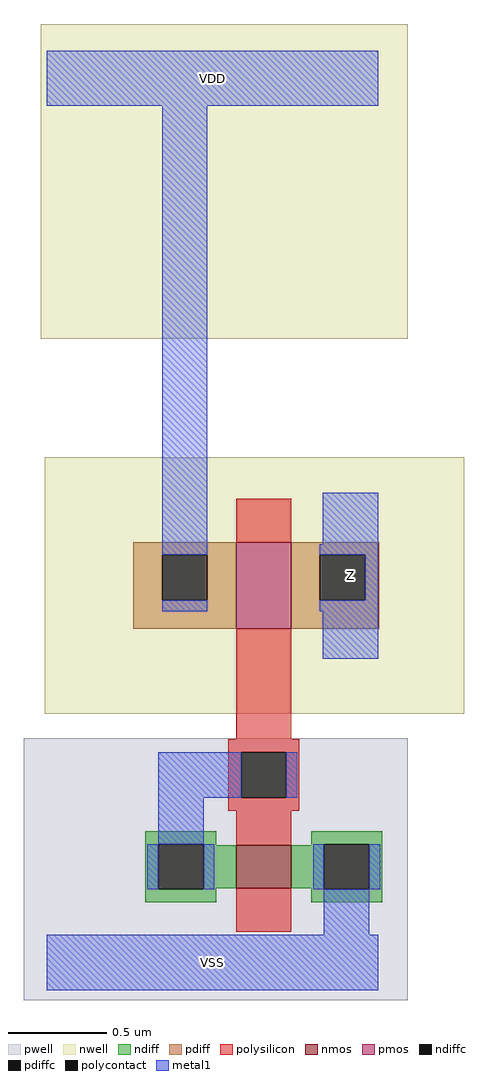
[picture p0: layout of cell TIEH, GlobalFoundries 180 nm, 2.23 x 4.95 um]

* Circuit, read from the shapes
.subckt TIEH VSS VDD Z
XM1 VSS n1 n1 VSUBS nfet_03v3 w=0.22u l=0.28u
XM2 Z n1 VDD n2 pfet_03v3 w=0.44u l=0.28u
.ends

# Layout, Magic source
magic
tech gf180mcuD
magscale 1 10
<< nwell >>
rect -6 632 366 951
rect -2 252 423 512
<< pwell >>
rect -23 -38 366 227
<< nmos >>
rect 192 75 248 119
<< pmos >>
rect 192 338 248 426
<< ndiff >>
rect 100 120 172 133
rect 100 74 113 120
rect 159 119 172 120
rect 268 120 340 133
rect 268 119 281 120
rect 159 75 192 119
rect 248 75 281 119
rect 159 74 172 75
rect 100 61 172 74
rect 268 74 281 75
rect 327 74 340 120
rect 268 61 340 74
<< pdiff >>
rect 88 413 192 426
rect 88 367 117 413
rect 163 367 192 413
rect 88 338 192 367
rect 248 413 337 426
rect 248 367 277 413
rect 323 367 337 413
rect 248 338 337 367
<< ndiffc >>
rect 113 74 159 120
rect 281 74 327 120
<< pdiffc >>
rect 117 367 163 413
rect 277 367 323 413
<< polysilicon >>
rect 192 426 248 470
rect 192 226 248 338
rect 184 213 256 226
rect 184 167 197 213
rect 243 167 256 213
rect 184 154 256 167
rect 192 119 248 154
rect 192 31 248 75
<< polycontact >>
rect 197 167 243 213
<< metal1 >>
rect 0 868 336 924
rect 117 413 163 868
rect 280 424 336 476
rect 117 356 163 367
rect 277 413 336 424
rect 323 367 336 413
rect 277 356 336 367
rect 280 308 336 356
rect 113 167 197 213
rect 243 167 254 213
rect 113 120 159 167
rect 102 74 113 120
rect 159 74 170 120
rect 270 74 281 120
rect 327 74 338 120
rect 281 28 327 74
rect 0 -28 336 28
<< labels >>
rlabel metal1 0 -28 336 28 0 VSS
port 1 nsew ground bidirectional
rlabel metal1 0 868 336 924 0 VDD
port 2 nsew power bidirectional
rlabel metal1 280 308 336 476 0 Z
port 3 nsew signal output
<< properties >>
string FIXED_BBOX 0 0 336 896
string fixed_BBOX 0 0 336 896
string LEFclass core
string LEFsite site056um
<< end >>
